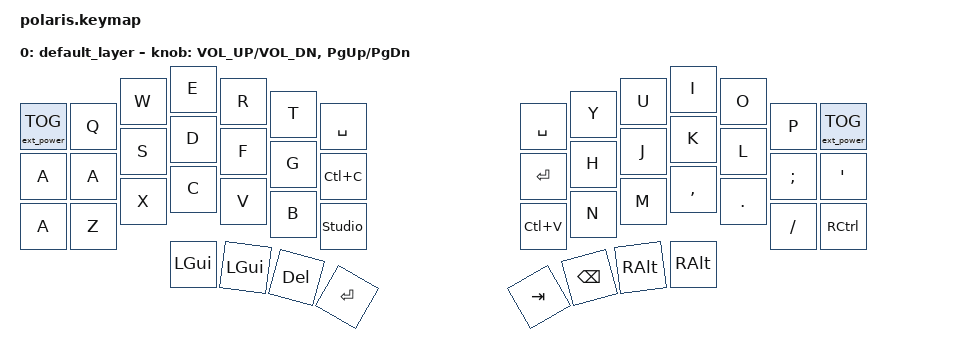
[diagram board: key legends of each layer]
#include <behaviors.dtsi>
#include <dt-bindings/zmk/keys.h>
#include <dt-bindings/zmk/bt.h>
#include <dt-bindings/zmk/ext_power.h>
#include <dt-bindings/zmk/rgb.h>


/ {

	keymap {
		compatible = "zmk,keymap";

		default_layer {
			bindings = <
				&ext_power EP_TOG   &kp Q    &kp W    &kp E     &kp R     &kp T      &kp SPACE        &kp SPACE &kp Y     &kp U     &kp I     &kp O     &kp P    &ext_power EP_TOG
				&kp A    &kp A    &kp S    &kp D     &kp F     &kp G      &kp LC(C)        &kp RET   &kp H     &kp J     &kp K     &kp L     &kp SEMI &kp SQT
				&kp A &kp Z    &kp X    &kp C     &kp V     &kp B      &studio_unlock       &kp LC(V) &kp N     &kp M     &kp COMMA &kp DOT   &kp FSLH &kp RCTRL
				                                &kp LGUI      &kp LGUI  &kp DEL    &kp RET          &kp TAB   &kp BSPC  &kp RALT &kp RALT
			>;
			          sensor-bindings = <&inc_dec_kp C_VOL_UP C_VOL_DN &inc_dec_kp PG_UP PG_DN>;
		};
	};
};
